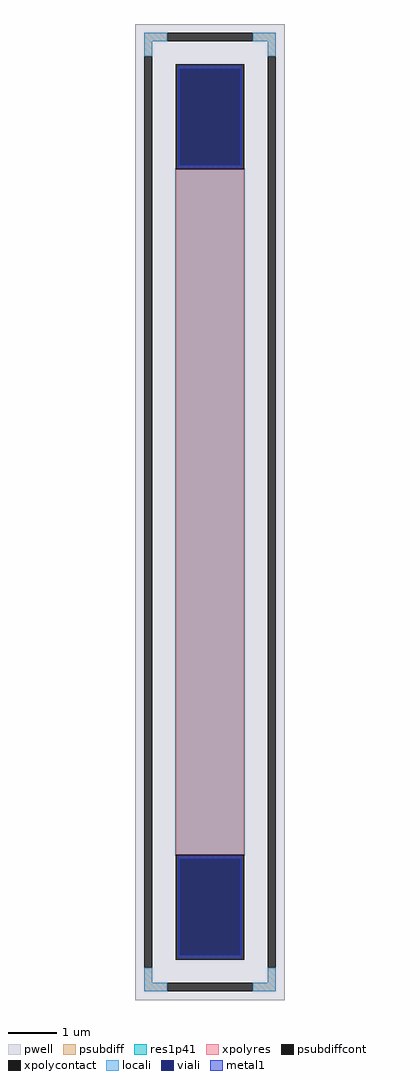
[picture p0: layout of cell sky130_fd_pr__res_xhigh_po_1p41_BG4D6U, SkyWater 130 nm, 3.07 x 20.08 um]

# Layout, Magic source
magic
tech sky130A
magscale 1 2
<< pwell >>
rect -307 -2008 307 2008
<< psubdiff >>
rect -271 1938 -175 1972
rect 175 1938 271 1972
rect -271 1876 -237 1938
rect 237 1876 271 1938
rect -271 -1938 -237 -1876
rect 237 -1938 271 -1876
rect -271 -1972 -175 -1938
rect 175 -1972 271 -1938
<< psubdiffcont >>
rect -175 1938 175 1972
rect -271 -1876 -237 1876
rect 237 -1876 271 1876
rect -175 -1972 175 -1938
<< xpolycontact >>
rect -141 1410 141 1842
rect -141 -1842 141 -1410
<< xpolyres >>
rect -141 -1410 141 1410
<< locali >>
rect -271 1938 -175 1972
rect 175 1938 271 1972
rect -271 1876 -237 1938
rect 237 1876 271 1938
rect -271 -1938 -237 -1876
rect 237 -1938 271 -1876
rect -271 -1972 -175 -1938
rect 175 -1972 271 -1938
<< viali >>
rect -125 1427 125 1824
rect -125 -1824 125 -1427
<< metal1 >>
rect -131 1824 131 1836
rect -131 1427 -125 1824
rect 125 1427 131 1824
rect -131 1415 131 1427
rect -131 -1427 131 -1415
rect -131 -1824 -125 -1427
rect 125 -1824 131 -1427
rect -131 -1836 131 -1824
<< res1p41 >>
rect -143 -1412 143 1412
<< properties >>
string FIXED_BBOX -254 -1955 254 1955
string gencell sky130_fd_pr__res_xhigh_po_1p41
string library sky130
string parameters w 1.410 l 14.1 m 1 nx 1 wmin 1.410 lmin 0.50 rho 2000 val 20.266k dummy 0 dw 0.0 term 188.2 sterm 0.0 caplen 0 wmax 1.410 guard 1 glc 1 grc 1 gtc 1 gbc 1 compatible {sky130_fd_pr__res_xhigh_po_0p35  sky130_fd_pr__res_xhigh_po_0p69 sky130_fd_pr__res_xhigh_po_1p41  sky130_fd_pr__res_xhigh_po_2p85 sky130_fd_pr__res_xhigh_po_5p73} snake 0 full_metal 1 n_guard 0 hv_guard 0 vias 1 viagb 0 viagt 0 viagl 0 viagr 0
<< end >>
